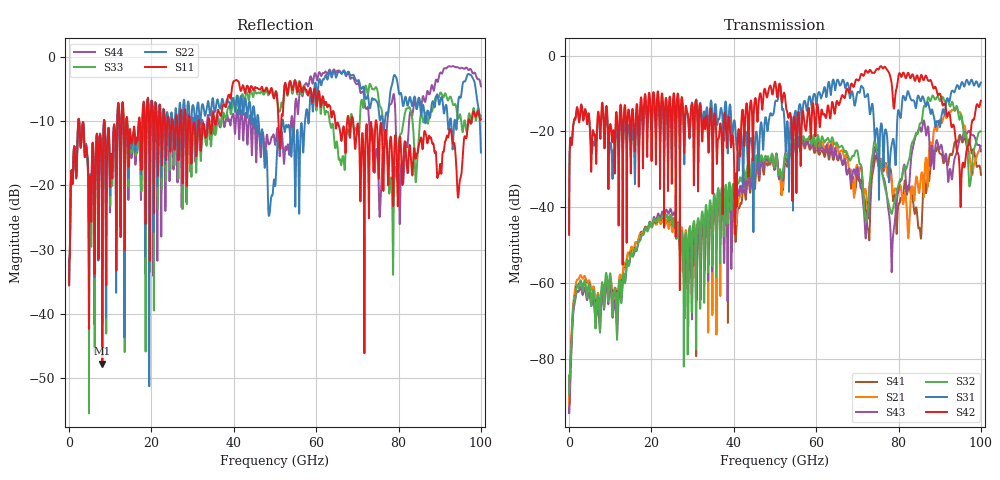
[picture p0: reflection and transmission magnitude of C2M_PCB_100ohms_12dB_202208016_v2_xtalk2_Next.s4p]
! Info: Touchstone file created by Circ.  Input file=Intel_C2M_200G_2p5in_202208016_staggered.circ
# Hz S RI R 50
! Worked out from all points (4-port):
!   10000 points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, 10 MHz to 100 GHz, reference 50 ohm
!   strongest paths, dB at 10 MHz, 25.01 GHz, 50.01 GHz, 75.01 GHz, 100 GHz:
!     S42: -47.0, -23.5, -6.9, -3.6, -11.9
!     S31: -47.3, -27.0, -12.4, -21.6, -7.1
!     S32: -89.0, -43.9, -28.2, -26.4, -20.0
!     S43: -93.0, -41.7, -29.2, -27.5, -25.2
!     S21: -91.3, -45.9, -28.3, -26.4, -23.8
!     S41: -92.9, -43.3, -29.2, -28.6, -31.4
!   lowest |S11| = -47.7 dB at 8.08 GHz (marker M1), VSWR 1.01, Z = 49.7 - j0.215 ohm
!   |S11| at or under -10 dB: 2.444 GHz to 8.486 GHz (6.042 GHz wide, 111 % of centre); 68.99 GHz to 74.45 GHz (5.464 GHz wide, 7.62 % of centre); 74.63 GHz to 96.95 GHz (22.33 GHz wide, 26 % of centre)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
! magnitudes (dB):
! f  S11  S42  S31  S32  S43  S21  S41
! 10 MHz  -35.5  -47.0  -47.3  -89.0  -93.0  -91.3  -92.9
! 8.08 GHz  -47.7  -12.4  -14.0  -59.7  -62.8  -60.2  -62.9
! 56.83 GHz  -5.0  -14.7  -13.3  -21.3  -22.3  -21.5  -22.5
! 78.49 GHz  -16.9  -9.1  -22.7  -41.2  -51.4  -35.4  -35.6
! 85.92 GHz  -14.1  -6.2  -10.8  -14.9  -17.7  -32.6  -36.6
! 95.24 GHz  -18.3  -33.8  -7.3  -15.6  -21.9  -15.9  -22.0
! 100 GHz  -9.7  -11.9  -7.1  -20.0  -25.2  -23.8  -31.4
